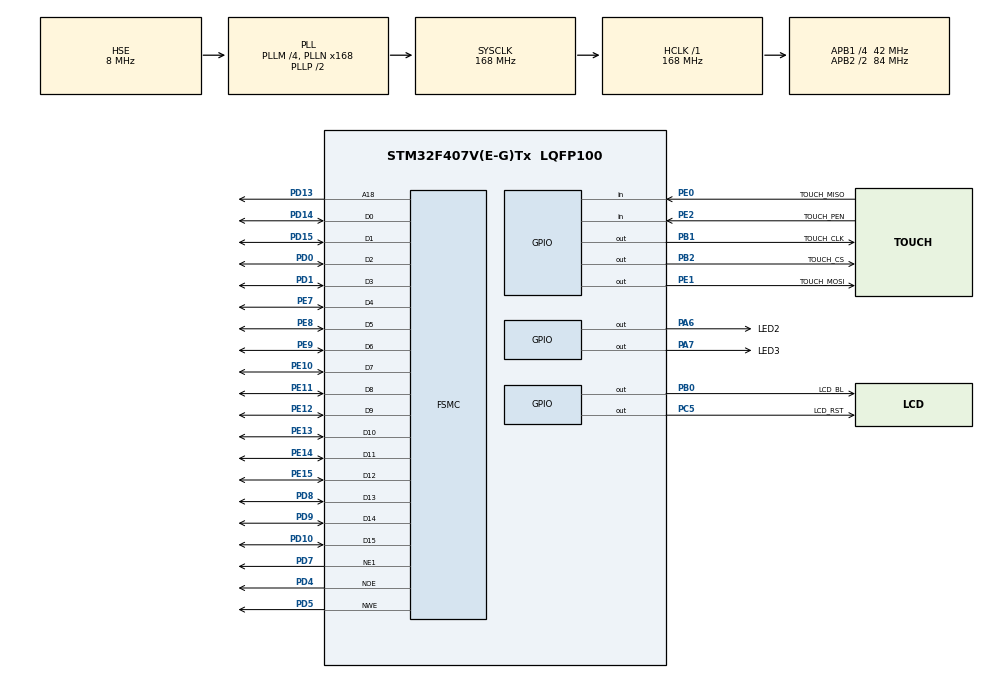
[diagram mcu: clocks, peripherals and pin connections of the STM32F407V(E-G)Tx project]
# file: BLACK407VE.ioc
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Dma.MEMTOMEM.0.Direction=DMA_MEMORY_TO_MEMORY
Dma.MEMTOMEM.0.FIFOMode=DMA_FIFOMODE_ENABLE
Dma.MEMTOMEM.0.FIFOThreshold=DMA_FIFO_THRESHOLD_FULL
Dma.MEMTOMEM.0.Instance=DMA2_Stream0
Dma.MEMTOMEM.0.MemBurst=DMA_MBURST_INC8
Dma.MEMTOMEM.0.MemDataAlignment=DMA_MDATAALIGN_HALFWORD
Dma.MEMTOMEM.0.MemInc=DMA_MINC_ENABLE
Dma.MEMTOMEM.0.Mode=DMA_NORMAL
Dma.MEMTOMEM.0.PeriphBurst=DMA_PBURST_INC8
Dma.MEMTOMEM.0.PeriphDataAlignment=DMA_PDATAALIGN_HALFWORD
Dma.MEMTOMEM.0.PeriphInc=DMA_PINC_ENABLE
Dma.MEMTOMEM.0.Priority=DMA_PRIORITY_HIGH
Dma.Request0=MEMTOMEM
FSMC.AddressSetupTime1=1
FSMC.BusTurnAroundDuration1=0
FSMC.DataSetupTime1=5
Mcu.Family=STM32F4
Mcu.Name=STM32F407V(E-G)Tx
Mcu.Package=LQFP100
NVIC.DMA2_Stream0_IRQn=true\:0\:0\:false\:false\:true\:true\:true
NVIC.PriorityGroup=NVIC_PRIORITYGROUP_4
PA13.Mode=Serial_Wire
PA13.Signal=SYS_JTMS-SWDIO
PA14.Mode=Serial_Wire
PA14.Signal=SYS_JTCK-SWCLK
PA6.GPIO_Label=LED2
PA6.Signal=GPIO_Output
PA7.GPIO_Label=LED3
PA7.Signal=GPIO_Output
PB0.GPIO_Label=LCD_BL
PB0.Signal=GPIO_Output
PB1.GPIO_Label=TOUCH_CLK
PB1.Signal=GPIO_Output
PB2.GPIO_Label=TOUCH_CS
PB2.Signal=GPIO_Output
PC14-OSC32_IN.Mode=LSE-External-Oscillator
PC14-OSC32_IN.Signal=RCC_OSC32_IN
PC15-OSC32_OUT.Mode=LSE-External-Oscillator
PC15-OSC32_OUT.Signal=RCC_OSC32_OUT
PC5.GPIO_Label=LCD_RST
PC5.Signal=GPIO_Output
PD0.Mode=16b-d1
PD0.Signal=FSMC_D2
PD1.Mode=16b-d1
PD1.Signal=FSMC_D3
PD10.Mode=16b-d1
PD10.Signal=FSMC_D15
PD13.Mode=A18_1
PD13.Signal=FSMC_A18
PD14.Mode=16b-d1
PD14.Signal=FSMC_D0
PD15.Mode=16b-d1
PD15.Signal=FSMC_D1
PD4.Mode=Lcd1
PD4.Signal=FSMC_NOE
PD5.Mode=Lcd1
PD5.Signal=FSMC_NWE
PD7.Mode=NorPsramChipSelect1_1
PD7.Signal=FSMC_NE1
PD8.Mode=16b-d1
PD8.Signal=FSMC_D13
PD9.Mode=16b-d1
PD9.Signal=FSMC_D14
PE0.GPIO_Label=TOUCH_MISO
PE0.Signal=GPIO_Input
PE1.GPIO_Label=TOUCH_MOSI
PE1.Signal=GPIO_Output
PE10.Mode=16b-d1
PE10.Signal=FSMC_D7
PE11.Mode=16b-d1
PE11.Signal=FSMC_D8
PE12.Mode=16b-d1
PE12.Signal=FSMC_D9
PE13.Mode=16b-d1
PE13.Signal=FSMC_D10
PE14.Mode=16b-d1
PE14.Signal=FSMC_D11
PE15.Mode=16b-d1
PE15.Signal=FSMC_D12
PE2.GPIO_Label=TOUCH_PEN
PE2.Signal=GPIO_Input
PE7.Mode=16b-d1
PE7.Signal=FSMC_D4
PE8.Mode=16b-d1
PE8.Signal=FSMC_D5
PE9.Mode=16b-d1
PE9.Signal=FSMC_D6
PH0-OSC_IN.Mode=HSE-External-Oscillator
PH0-OSC_IN.Signal=RCC_OSC_IN
PH1-OSC_OUT.Mode=HSE-External-Oscillator
PH1-OSC_OUT.Signal=RCC_OSC_OUT
ProjectManager.HeapSize=0x1000
ProjectManager.StackSize=0x2000
ProjectManager.TargetToolchain=Makefile
RCC.48MHZClocksFreq_Value=48000000
RCC.AHBFreq_Value=168000000
RCC.APB1CLKDivider=RCC_HCLK_DIV4
RCC.APB1Freq_Value=42000000
RCC.APB1TimFreq_Value=84000000
RCC.APB2CLKDivider=RCC_HCLK_DIV2
RCC.APB2Freq_Value=84000000
RCC.APB2TimFreq_Value=168000000
RCC.CortexFreq_Value=168000000
RCC.HCLKFreq_Value=168000000
RCC.HSE_VALUE=8000000
RCC.HSICalibrationValue=8
RCC.HSI_VALUE=16000000
RCC.PLLM=4
RCC.PLLN=168
RCC.PLLQ=7
RCC.PLLSourceVirtual=RCC_PLLSOURCE_HSE
RCC.RCC_RTC_Clock_Source=RCC_RTCCLKSOURCE_LSE
RCC.RCC_RTC_Clock_SourceVirtual=RCC_RTCCLKSOURCE_LSE
RCC.SYSCLKFreq_VALUE=168000000
RCC.SYSCLKSource=RCC_SYSCLKSOURCE_PLLCLK
RCC.VCOOutputFreq_Value=336000000
RTC.Hours=16
RTC.Minutes=20
RTC.StoreOperation=RTC_STOREOPERATION_SET
VP_RTC_VS_RTC_Activate.Mode=RTC_Enabled
VP_RTC_VS_RTC_Calendar.Mode=RTC_Calendar
board=custom

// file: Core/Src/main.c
/* USER CODE BEGIN Header */
/**
  ******************************************************************************
  * @file           : main.c
  * @brief          : Main program body
  ******************************************************************************
  * @attention
  *
  * <h2><center>&copy; Copyright (c) 2020 STMicroelectronics.
  * All rights reserved.</center></h2>
  *
  * This software component is licensed by ST under BSD 3-Clause license,
  * the "License"; You may not use this file except in compliance with the
  * License. You may obtain a copy of the License at:
  *                        opensource.org/licenses/BSD-3-Clause
  *
  ******************************************************************************
  */
/* USER CODE END Header */
#include "main.h"

/* USER CODE BEGIN Includes */
#include "ili9341.h"
#include <stdio.h>
#include <string.h>
#include "lvgl/lvgl.h"
#include "lvgl_init_f407.h"

#include "touchpad.h"

#include "lv_demo_conf.h"

/* USER CODE END Includes */

RTC_HandleTypeDef hrtc;

DMA_HandleTypeDef hdma_memtomem_dma2_stream0;
SRAM_HandleTypeDef hsram1;

/* USER CODE BEGIN PV */
RTC_TimeTypeDef rtcTime;
RTC_DateTypeDef rtcDate;

/* USER CODE END PV */

void SystemClock_Config(void);
static void MX_GPIO_Init(void);
static void MX_DMA_Init(void);
static void MX_FSMC_Init(void);
static void MX_RTC_Init(void);

/* USER CODE BEGIN 0 */

// extern TS_Point p; // define on __xpt2046_H

/* USER CODE END 0 */

int main(void)
{

  /* MCU Configuration--------------------------------------------------------*/

  /* Reset of all peripherals, Initializes the Flash interface and the Systick. */
  HAL_Init();

  /* Configure the system clock */
  SystemClock_Config();

  /* Initialize all configured peripherals */
  MX_GPIO_Init();
  MX_DMA_Init();
  MX_FSMC_Init();
  MX_RTC_Init();
  /* USER CODE BEGIN 2 */

  // ---------------------
  lcdBacklightOn();

  // lcdInit();
  lv_init();
  lv_lcd_init();

    // LCD_ORIENTATION_PORTRAIT 		= 0,
    // LCD_ORIENTATION_LANDSCAPE 		= 1,
    // LCD_ORIENTATION_PORTRAIT_MIRROR 	= 2,
    // LCD_ORIENTATION_LANDSCAPE_MIRROR = 3
  lcdSetOrientation(LCD_ORIENTATION_LANDSCAPE);
  // lcdFillRGB(0);
  // HAL_Delay(250);

  lv_touchpad_init();
  // ---------------------

  // ---------------------

  // lv_example_arc_1();
  // lv_example_arc_2();

  // lv_example_animimg_1();

  // lv_example_bar_1();
  // lv_example_bar_2();
  // lv_example_bar_3();
  // lv_example_bar_4();
  // lv_example_bar_5();
  // lv_example_bar_6();

  // lv_example_btn_1();
  // lv_example_btn_2();
  // lv_example_btn_3();

  // lv_example_btnmatrix_1();
  // lv_example_btnmatrix_2();
  // lv_example_btnmatrix_3();

  // lv_example_calendar_1();

  // lv_example_canvas_1();
  // lv_example_canvas_2();

  // lv_example_chart_1();
  // lv_example_chart_2();
  // lv_example_chart_3();
  // lv_example_chart_4();
  // lv_example_chart_5();
  // lv_example_chart_6();
  // lv_example_chart_7();
  // lv_example_chart_8();
  // lv_example_chart_9();

  // lv_example_checkbox_1();
  // lv_example_checkbox_2();

  // lv_example_colorwheel_1();

  // lv_example_dropdown_1();
  // lv_example_dropdown_2();
  // lv_example_dropdown_3();

  // lv_example_img_1();
  // lv_example_img_2();
  // lv_example_img_3();
  // lv_example_img_4();

  // lv_example_imgbtn_1();

  // lv_example_keyboard_1();

  // lv_example_label_1();
  // lv_example_label_2();
  // lv_example_label_3();
  // lv_example_label_4();

  // lv_example_led_1();

  // lv_example_line_1();

  // lv_example_list_1();
  // lv_example_list_2();

  // lv_example_menu_1();
  // lv_example_menu_2();
  // lv_example_menu_3();
  // lv_example_menu_4();
  // lv_example_menu_5();

  // lv_example_meter_1();
  // lv_example_meter_2();
  // lv_example_meter_3(); // clock with dial
  // lv_example_meter_4();

  // lv_example_msgbox_1();

  // lv_example_obj_1();
  // lv_example_obj_2();

  // lv_example_roller_1();
  // lv_example_roller_2();
  // lv_example_roller_3();

  // lv_example_slider_1();
  // lv_example_slider_2();
  // lv_example_slider_3();

  // lv_example_spinbox_1();

  // lv_example_spinner_1();

  // lv_example_switch_1();

  // lv_example_table_1();
  // lv_example_table_2();

  // lv_example_tabview_1();
  // lv_example_tabview_2();

  // lv_example_textarea_1();
  // lv_example_textarea_2();
  // lv_example_textarea_3();

  // lv_example_tileview_1();

  // lv_example_win_1();

  // lv_example_span_1();

  // ---------------------

  // ---------------------
   lv_demo_widgets();
  // lv_demo_stress();
  // lv_demo_benchmark();
  // lv_demo_music();

  // ---------------------

  // ---------------------
  // lv_example_style_11();
  // lv_example_scroll_1();
  // lv_example_flex_1();
  // lv_example_flex_6();
  // lv_example_event_1();
  // ---------------------

  /* USER CODE END 2 */

  /* Infinite loop */
  /* USER CODE BEGIN WHILE */
  while (1)  {
    lv_task_handler();
    HAL_Delay(5);
    /* USER CODE END WHILE */

	}
}

void SystemClock_Config(void)
{
  RCC_OscInitTypeDef RCC_OscInitStruct = {0};
  RCC_ClkInitTypeDef RCC_ClkInitStruct = {0};

  /** Configure the main internal regulator output voltage
  */
  __HAL_RCC_PWR_CLK_ENABLE();
  __HAL_PWR_VOLTAGESCALING_CONFIG(PWR_REGULATOR_VOLTAGE_SCALE1);
  /** Initializes the RCC Oscillators according to the specified parameters
  * in the RCC_OscInitTypeDef structure.
  */
  RCC_OscInitStruct.OscillatorType = RCC_OSCILLATORTYPE_HSE|RCC_OSCILLATORTYPE_LSE;
  RCC_OscInitStruct.HSEState = RCC_HSE_ON;
  RCC_OscInitStruct.LSEState = RCC_LSE_ON;
  RCC_OscInitStruct.PLL.PLLState = RCC_PLL_ON;
  RCC_OscInitStruct.PLL.PLLSource = RCC_PLLSOURCE_HSE;
  RCC_OscInitStruct.PLL.PLLM = 4;
  RCC_OscInitStruct.PLL.PLLN = 168;
  RCC_OscInitStruct.PLL.PLLP = RCC_PLLP_DIV2;
  RCC_OscInitStruct.PLL.PLLQ = 7;
  if (HAL_RCC_OscConfig(&RCC_OscInitStruct) != HAL_OK)
  {
    Error_Handler();
  }
  /** Initializes the CPU, AHB and APB buses clocks
  */
  RCC_ClkInitStruct.ClockType = RCC_CLOCKTYPE_HCLK|RCC_CLOCKTYPE_SYSCLK
                              |RCC_CLOCKTYPE_PCLK1|RCC_CLOCKTYPE_PCLK2;
  RCC_ClkInitStruct.SYSCLKSource = RCC_SYSCLKSOURCE_PLLCLK;
  RCC_ClkInitStruct.AHBCLKDivider = RCC_SYSCLK_DIV1;
  RCC_ClkInitStruct.APB1CLKDivider = RCC_HCLK_DIV4;
  RCC_ClkInitStruct.APB2CLKDivider = RCC_HCLK_DIV2;

  if (HAL_RCC_ClockConfig(&RCC_ClkInitStruct, FLASH_LATENCY_5) != HAL_OK)
  {
    Error_Handler();
  }
}

static void MX_RTC_Init(void)
{

  RTC_TimeTypeDef sTime = {0};
  RTC_DateTypeDef sDate = {0};

  /** Initialize RTC Only
  */
  hrtc.Instance = RTC;
  hrtc.Init.HourFormat = RTC_HOURFORMAT_24;
  hrtc.Init.AsynchPrediv = 127;
  hrtc.Init.SynchPrediv = 255;
  hrtc.Init.OutPut = RTC_OUTPUT_DISABLE;
  hrtc.Init.OutPutPolarity = RTC_OUTPUT_POLARITY_HIGH;
  hrtc.Init.OutPutType = RTC_OUTPUT_TYPE_OPENDRAIN;
  if (HAL_RTC_Init(&hrtc) != HAL_OK)
  {
    Error_Handler();
  }

  /** Initialize RTC and set the Time and Date
  */
  sTime.Hours = 0x16;
  sTime.Minutes = 0x20;
  sTime.Seconds = 0x0;
  sTime.DayLightSaving = RTC_DAYLIGHTSAVING_NONE;
  sTime.StoreOperation = RTC_STOREOPERATION_SET;
  if (HAL_RTC_SetTime(&hrtc, &sTime, RTC_FORMAT_BCD) != HAL_OK)
  {
    Error_Handler();
  }
  sDate.WeekDay = RTC_WEEKDAY_MONDAY;
  sDate.Month = RTC_MONTH_JANUARY;
  sDate.Date = 0x1;
  sDate.Year = 0x0;

  if (HAL_RTC_SetDate(&hrtc, &sDate, RTC_FORMAT_BCD) != HAL_OK)
  {
    Error_Handler();
  }

}

static void MX_DMA_Init(void)
{

  /* DMA controller clock enable */
  __HAL_RCC_DMA2_CLK_ENABLE();

  /* Configure DMA request hdma_memtomem_dma2_stream0 on DMA2_Stream0 */
  hdma_memtomem_dma2_stream0.Instance = DMA2_Stream0;
  hdma_memtomem_dma2_stream0.Init.Channel = DMA_CHANNEL_0;
  hdma_memtomem_dma2_stream0.Init.Direction = DMA_MEMORY_TO_MEMORY;
  hdma_memtomem_dma2_stream0.Init.PeriphInc = DMA_PINC_ENABLE;
  hdma_memtomem_dma2_stream0.Init.MemInc = DMA_MINC_ENABLE;
  hdma_memtomem_dma2_stream0.Init.PeriphDataAlignment = DMA_PDATAALIGN_HALFWORD;
  hdma_memtomem_dma2_stream0.Init.MemDataAlignment = DMA_MDATAALIGN_HALFWORD;
  hdma_memtomem_dma2_stream0.Init.Mode = DMA_NORMAL;
  hdma_memtomem_dma2_stream0.Init.Priority = DMA_PRIORITY_HIGH;
  hdma_memtomem_dma2_stream0.Init.FIFOMode = DMA_FIFOMODE_ENABLE;
  hdma_memtomem_dma2_stream0.Init.FIFOThreshold = DMA_FIFO_THRESHOLD_FULL;
  hdma_memtomem_dma2_stream0.Init.MemBurst = DMA_MBURST_INC8;
  hdma_memtomem_dma2_stream0.Init.PeriphBurst = DMA_PBURST_INC8;
  if (HAL_DMA_Init(&hdma_memtomem_dma2_stream0) != HAL_OK)
  {
    Error_Handler( );
  }

  /* DMA interrupt init */
  /* DMA2_Stream0_IRQn interrupt configuration */
  HAL_NVIC_SetPriority(DMA2_Stream0_IRQn, 0, 0);
  HAL_NVIC_EnableIRQ(DMA2_Stream0_IRQn);

}

static void MX_GPIO_Init(void)
{
  GPIO_InitTypeDef GPIO_InitStruct = {0};

  /* GPIO Ports Clock Enable */
  __HAL_RCC_GPIOE_CLK_ENABLE();
  __HAL_RCC_GPIOC_CLK_ENABLE();
  __HAL_RCC_GPIOH_CLK_ENABLE();
  __HAL_RCC_GPIOA_CLK_ENABLE();
  __HAL_RCC_GPIOB_CLK_ENABLE();
  __HAL_RCC_GPIOD_CLK_ENABLE();

  /*Configure GPIO pin Output Level */
  HAL_GPIO_WritePin(GPIOA, LED2_Pin|LED3_Pin, GPIO_PIN_RESET);

  /*Configure GPIO pin Output Level */
  HAL_GPIO_WritePin(LCD_RST_GPIO_Port, LCD_RST_Pin, GPIO_PIN_RESET);

  /*Configure GPIO pin Output Level */
  HAL_GPIO_WritePin(GPIOB, LCD_BL_Pin|TOUCH_CLK_Pin|TOUCH_CS_Pin, GPIO_PIN_RESET);

  /*Configure GPIO pin Output Level */
  HAL_GPIO_WritePin(TOUCH_MOSI_GPIO_Port, TOUCH_MOSI_Pin, GPIO_PIN_RESET);

  /*Configure GPIO pins : TOUCH_PEN_Pin TOUCH_MISO_Pin */
  GPIO_InitStruct.Pin = TOUCH_PEN_Pin|TOUCH_MISO_Pin;
  GPIO_InitStruct.Mode = GPIO_MODE_INPUT;
  GPIO_InitStruct.Pull = GPIO_NOPULL;
  HAL_GPIO_Init(GPIOE, &GPIO_InitStruct);

  /*Configure GPIO pins : LED2_Pin LED3_Pin */
  GPIO_InitStruct.Pin = LED2_Pin|LED3_Pin;
  GPIO_InitStruct.Mode = GPIO_MODE_OUTPUT_PP;
  GPIO_InitStruct.Pull = GPIO_NOPULL;
  GPIO_InitStruct.Speed = GPIO_SPEED_FREQ_LOW;
  HAL_GPIO_Init(GPIOA, &GPIO_InitStruct);

  /*Configure GPIO pin : LCD_RST_Pin */
  GPIO_InitStruct.Pin = LCD_RST_Pin;
  GPIO_InitStruct.Mode = GPIO_MODE_OUTPUT_PP;
  GPIO_InitStruct.Pull = GPIO_NOPULL;
  GPIO_InitStruct.Speed = GPIO_SPEED_FREQ_LOW;
  HAL_GPIO_Init(LCD_RST_GPIO_Port, &GPIO_InitStruct);

  /*Configure GPIO pins : LCD_BL_Pin TOUCH_CLK_Pin TOUCH_CS_Pin */
  GPIO_InitStruct.Pin = LCD_BL_Pin|TOUCH_CLK_Pin|TOUCH_CS_Pin;
  GPIO_InitStruct.Mode = GPIO_MODE_OUTPUT_PP;
  GPIO_InitStruct.Pull = GPIO_NOPULL;
  GPIO_InitStruct.Speed = GPIO_SPEED_FREQ_LOW;
  HAL_GPIO_Init(GPIOB, &GPIO_InitStruct);

  /*Configure GPIO pin : TOUCH_MOSI_Pin */
  GPIO_InitStruct.Pin = TOUCH_MOSI_Pin;
  GPIO_InitStruct.Mode = GPIO_MODE_OUTPUT_PP;
  GPIO_InitStruct.Pull = GPIO_NOPULL;
  GPIO_InitStruct.Speed = GPIO_SPEED_FREQ_LOW;
  HAL_GPIO_Init(TOUCH_MOSI_GPIO_Port, &GPIO_InitStruct);

}

/* FSMC initialization function */
static void MX_FSMC_Init(void)
{

  FSMC_NORSRAM_TimingTypeDef Timing = {0};

  /** Perform the SRAM1 memory initialization sequence
  */
  hsram1.Instance = FSMC_NORSRAM_DEVICE;
  hsram1.Extended = FSMC_NORSRAM_EXTENDED_DEVICE;
  /* hsram1.Init */
  hsram1.Init.NSBank = FSMC_NORSRAM_BANK1;
  hsram1.Init.DataAddressMux = FSMC_DATA_ADDRESS_MUX_DISABLE;
  hsram1.Init.MemoryType = FSMC_MEMORY_TYPE_SRAM;
  hsram1.Init.MemoryDataWidth = FSMC_NORSRAM_MEM_BUS_WIDTH_16;
  hsram1.Init.BurstAccessMode = FSMC_BURST_ACCESS_MODE_DISABLE;
  hsram1.Init.WaitSignalPolarity = FSMC_WAIT_SIGNAL_POLARITY_LOW;
  hsram1.Init.WrapMode = FSMC_WRAP_MODE_DISABLE;
  hsram1.Init.WaitSignalActive = FSMC_WAIT_TIMING_BEFORE_WS;
  hsram1.Init.WriteOperation = FSMC_WRITE_OPERATION_ENABLE;
  hsram1.Init.WaitSignal = FSMC_WAIT_SIGNAL_DISABLE;
  hsram1.Init.ExtendedMode = FSMC_EXTENDED_MODE_DISABLE;
  hsram1.Init.AsynchronousWait = FSMC_ASYNCHRONOUS_WAIT_DISABLE;
  hsram1.Init.WriteBurst = FSMC_WRITE_BURST_DISABLE;
  hsram1.Init.PageSize = FSMC_PAGE_SIZE_NONE;
  /* Timing */
  Timing.AddressSetupTime = 1;
  Timing.AddressHoldTime = 1;
  Timing.DataSetupTime = 1;
  Timing.BusTurnAroundDuration = 1;
  Timing.CLKDivision = 16;
  Timing.DataLatency = 17;
  Timing.AccessMode = FSMC_ACCESS_MODE_A;
  /* ExtTiming */

  if (HAL_SRAM_Init(&hsram1, &Timing, NULL) != HAL_OK)
  {
    Error_Handler( );
  }

}

/* USER CODE BEGIN 4 */
void HAL_GPIO_EXTI_Callback(uint16_t GPIO_Pin)
{
  /*
  if (GPIO_Pin == MY_Pin)
  { ... }
  */
}

/* USER CODE END 4 */

void Error_Handler(void)
{
}

/************************ (C) COPYRIGHT STMicroelectronics *****END OF FILE****/
